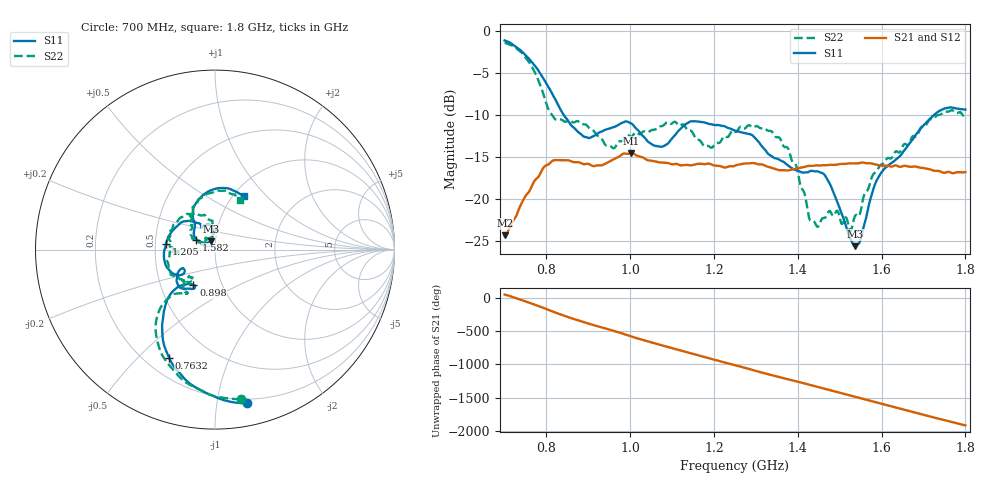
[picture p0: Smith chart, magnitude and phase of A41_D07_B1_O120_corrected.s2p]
! Created with skrf 1.9.0 (http://scikit-rf.org).
# Hz S RI R 50.0
!freq ReS11 ImS11 ReS21 ImS21 ReS12 ImS12 ReS22 ImS22
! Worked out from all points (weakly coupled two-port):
!   1601 points, 700 MHz to 1.8 GHz, reference 50 ohm
!   highest |S21| = -14.57 dB at 1.002 GHz (marker M1); lowest = -24.4 dB at 700.7 MHz (marker M2)
!   lowest |S11| = -25.7 dB at 1.536 GHz (marker M3), VSWR 1.11, Z = 47.5 + j4.41 ohm
!   |S11| at or under -10 dB: 840.5 MHz to 1.726 GHz (885.7 MHz wide, 69 % of centre)
!   |S22| runs from -23.8 to -1.5 dB; largest |S21 - S12| = 0.0035
!   S11 on the Smith chart (normalised r, x): 700 MHz: 0.17, -1.21; 763.2 MHz: 0.29, -0.62; 898 MHz: 0.73, -0.30; 1.205 GHz: 0.57, +0.04; 1.582 GHz: 0.81, +0.09; 1.8 GHz: 1.12, +0.75
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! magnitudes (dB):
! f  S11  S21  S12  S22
! 700 MHz  -1.2  -24.4  -24.2  -1.5
! 700.7 MHz  -1.2  -24.4  -24.1  -1.5
! 763.2 MHz  -3.7  -18.7  -18.7  -4.1
! 818.2 MHz  -7.9  -15.4  -15.5  -10.4
! 883.6 MHz  -12.4  -15.8  -15.7  -11.1
! 898 MHz  -12.7  -15.9  -15.9  -11.4
! 958.5 MHz  -11.5  -15.4  -15.4  -14.0
! 1.002 GHz  -11.1  -14.6  -14.7  -12.6
! 1.067 GHz  -13.8  -15.7  -15.6  -11.5
! 1.142 GHz  -10.8  -16.0  -16.0  -11.9
! 1.205 GHz  -11.2  -16.1  -16.1  -13.4
! 1.25 GHz  -11.9  -16.1  -16.0  -12.1
! 1.357 GHz  -15.4  -16.6  -16.6  -12.8
! 1.396 GHz  -16.6  -16.5  -16.4  -16.1
! 1.434 GHz  -16.7  -16.1  -16.1  -22.6
! 1.471 GHz  -17.8  -16.0  -16.0  -21.8
! 1.526 GHz  -24.8  -15.8  -15.8  -23.8
! 1.536 GHz  -25.7  -15.8  -15.8  -22.1
! 1.582 GHz  -18.6  -15.9  -15.9  -17.0
! 1.617 GHz  -16.0  -16.1  -16.1  -15.2
! 1.733 GHz  -9.7  -16.7  -16.7  -10.1
! 1.8 GHz  -9.4  -16.9  -16.8  -10.2
